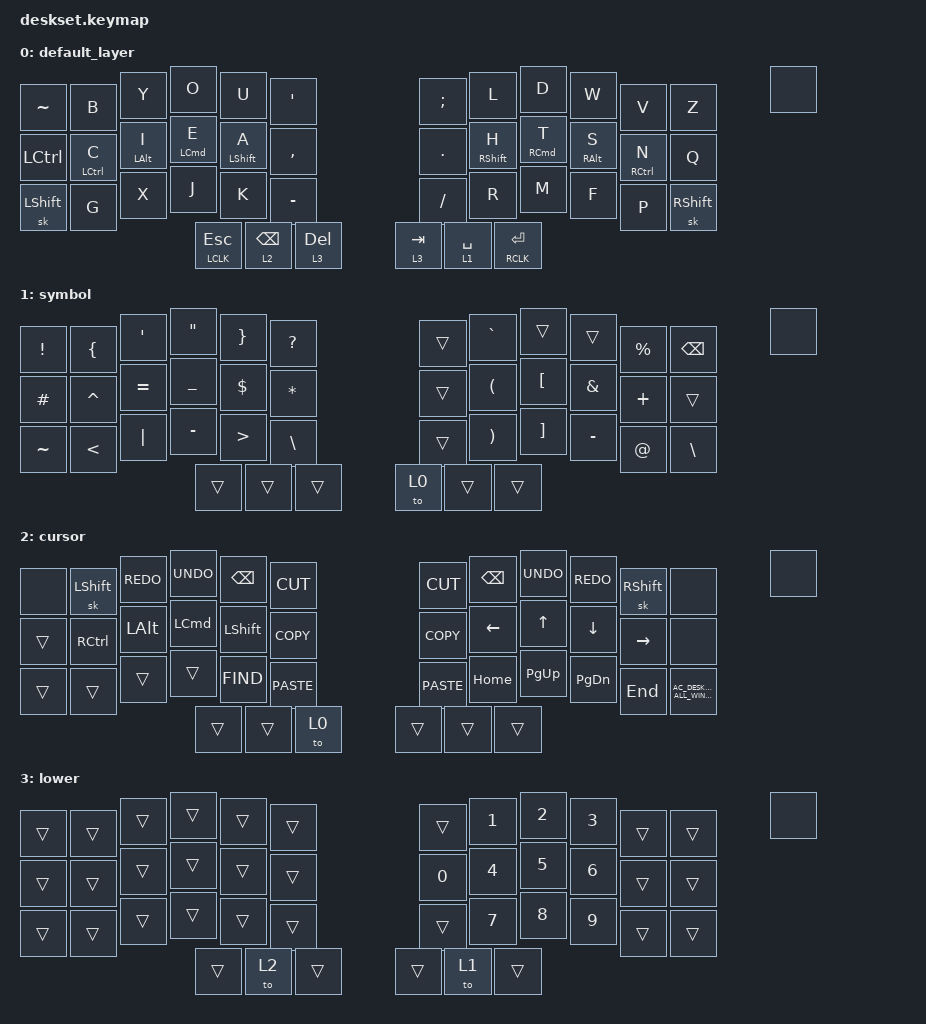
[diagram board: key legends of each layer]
/*
 * Copyright (c) 2020 The ZMK Contributors
 *
 * SPDX-License-Identifier: MIT
 */

#include <behaviors.dtsi>
#include <dt-bindings/zmk/bt.h>
#include <dt-bindings/zmk/keys.h>
#include <dt-bindings/zmk/mouse.h>
#include <dt-bindings/zmk/input_transform.h>
#include <input/processors.dtsi>
#include <input/processors/report_rate_limit.dtsi>

// #include "mouse.dtsi"
/* Homerow mods */

#define KEYS_L 0 1 2 3 4 5 12 13 14 15 16 17 24 25 26 27 28 29    // left hand
#define KEYS_R 6 7 8 9 10 11 18 19 20 21 22 23 30 31 32 33 34 35  // right hand
#define THUMBS 36 37 38 39 40 41                                  // thumbs

/ {
    behaviors {
        hml: home_row_mod_left {
            compatible = "zmk,behavior-hold-tap";
            #binding-cells = <2>;
            flavor = "balanced";
            tapping-term-ms = <250>;
            quick-tap-ms = <150>;
            require-prior-idle-ms = <150>;
            bindings = <&kp>, <&kp>;

            hold-trigger-key-positions = <KEYS_R THUMBS>;
            hold-trigger-on-release;
        };

        hmr: home_row_mod_right {
            compatible = "zmk,behavior-hold-tap";
            #binding-cells = <2>;
            flavor = "balanced";
            tapping-term-ms = <250>;
            quick-tap-ms = <150>;
            require-prior-idle-ms = <150>;
            bindings = <&kp>, <&kp>;

            hold-trigger-key-positions = <KEYS_L THUMBS>;
            hold-trigger-on-release;
        };

        mouse_ht: mouse_hold_tap {
            compatible = "zmk,behavior-hold-tap";
            #binding-cells = <2>;
            flavor = "balanced";
            tapping-term-ms = <200>;
            bindings = <&mkp>, <&kp>;
        };
    };

    sidecar_listener: sidecar_listener {
        compatible = "zmk,input-listener";
        device = <&sidecar_split>;
        input-processors = <&zip_report_rate_limit 1>, <&zip_xy_transform INPUT_TRANSFORM_X_INVERT>;
    };

    corne_tpad_listener: corne_tpad_listener {
        compatible = "zmk,input-listener";
        device = <&corne_tpad_split>;
        input-processors = <&zip_report_rate_limit 1>;
    };

    keymap {
        compatible = "zmk,keymap";

        default_layer {
            bindings = <
&kp TILDE       &kp B                &kp Y            &kp O                &kp U              &kp SINGLE_QUOTE    &kp SEMI    &kp L               &kp D        &kp W             &kp V         &kp Z
&kp LCTRL       &hml LEFT_CONTROL C  &hml LEFT_ALT I  &hml LEFT_COMMAND E  &hml LEFT_SHIFT A  &kp COMMA           &kp PERIOD  &hmr RIGHT_SHIFT H  &hmr RCMD T  &hmr RIGHT_ALT S  &hmr RCTRL N  &kp Q
&sk LEFT_SHIFT  &kp G                &kp X            &kp J                &kp K              &kp MINUS           &kp SLASH   &kp R               &kp M        &kp F             &kp P         &sk RIGHT_SHIFT
                                                      &mouse_ht LCLK ESCAPE  &lt 2 BACKSPACE    &lt 3 DELETE        &lt 3 TAB   &lt 1 SPACE         &mouse_ht RCLK RET
&none  // 42: sidecar key
            >;
        };

        symbol {
            bindings = <
&kp EXCLAMATION  &kp LEFT_BRACE  &kp SQT    &kp DOUBLE_QUOTES  &kp RIGHT_BRACE   &kp QUESTION     &trans  &kp GRAVE              &trans             &trans         &kp PERCENT  &kp BSPC
&kp HASH         &kp CARET       &kp EQUAL  &kp UNDERSCORE     &kp DOLLAR        &kp ASTERISK     &trans  &kp LEFT_PARENTHESIS   &kp LEFT_BRACKET   &kp AMPERSAND  &kp PLUS     &trans
&kp TILDE        &kp LESS_THAN   &kp PIPE   &kp MINUS          &kp GREATER_THAN  &kp BACKSLASH    &trans  &kp RIGHT_PARENTHESIS  &kp RIGHT_BRACKET  &kp MINUS      &kp AT       &kp BACKSLASH
                                            &trans             &trans            &trans           &to 0   &trans                 &trans
&none  // 42: sidecar key
            >;
        };

        cursor {
            bindings = <
&none  &sk LEFT_SHIFT  &kp K_REDO    &kp K_UNDO  &kp BACKSPACE   &kp K_CUT      &kp K_CUT    &kp BACKSPACE   &kp K_UNDO    &kp K_REDO      &sk RIGHT_SHIFT  &none
&trans          &kp RCTRL       &kp LEFT_ALT  &kp LCMD    &kp LEFT_SHIFT  &kp K_COPY     &kp K_COPY   &kp LEFT_ARROW  &kp UP_ARROW  &kp DOWN_ARROW  &kp RIGHT        &none
&trans          &trans          &trans        &trans      &kp K_FIND      &kp K_PASTE    &kp K_PASTE  &kp HOME        &kp PAGE_UP   &kp PAGE_DOWN   &kp END          &kp C_AC_DESKTOP_SHOW_ALL_WINDOWS
                                              &trans      &trans          &to 0          &trans       &trans          &trans
&none  // 42: sidecar key
            >;
        };

        lower {
            bindings = <
&trans  &trans  &trans  &trans  &trans  &trans    &trans  &kp NUMBER_1  &kp NUMBER_2  &kp NUMBER_3  &trans  &trans
&trans  &trans  &trans  &trans  &trans  &trans    &kp N0  &kp NUMBER_4  &kp N5        &kp NUMBER_6  &trans  &trans
&trans  &trans  &trans  &trans  &trans  &trans    &trans  &kp N7        &kp N8        &kp N9        &trans  &trans
                        &trans  &to 2   &trans    &trans  &to 1         &trans
&none  // 42: sidecar key
            >;
        };

        /*        raise_layer {
*            bindings = <
*&trans  &kp 1   &kp 2   &kp 3   &kp 4   &kp 5   U_WH_L  U_WH_D    U_MS_U     U_WH_U    U_WH_R  &trans
*&trans  &kp 6   &kp 7   &kp 8   &kp 9   &kp 0   &trans  U_MS_L    U_MS_D     U_MS_R    &trans  &trans
*&trans  &trans  &trans  &trans  &trans  &trans  &trans  &mkp MB4  &mkp MCLK  &mkp MB5  &trans  &trans
*                        &trans  &trans  &trans  &trans  &trans    &to 0
*            >;
*        };
*/
    };
};
